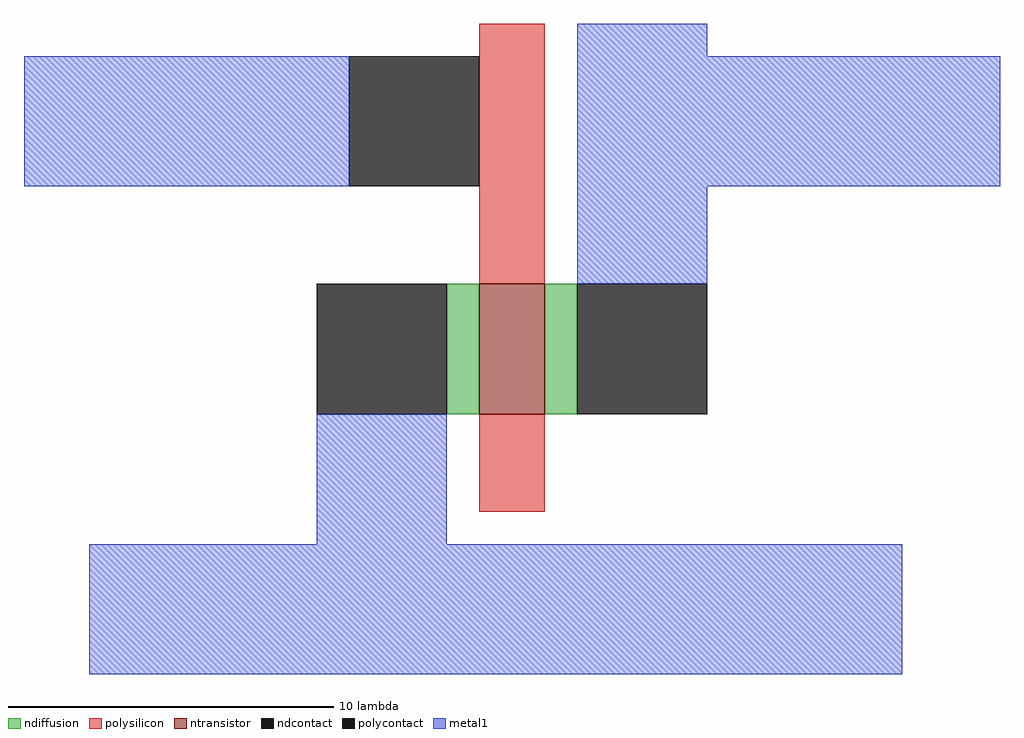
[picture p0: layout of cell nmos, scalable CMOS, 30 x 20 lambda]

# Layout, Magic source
magic
tech scmos
<< ntransistor >>
rect 4 -17 6 -13
<< ndiffusion >>
rect 3 -17 4 -13
rect 6 -17 7 -13
<< ndcontact >>
rect -1 -17 3 -13
rect 7 -17 11 -13
<< polysilicon >>
rect 4 -13 6 -5
rect 4 -20 6 -17
<< polycontact >>
rect 0 -10 4 -6
<< metal1 >>
rect 7 -6 11 -5
rect -10 -10 0 -6
rect 7 -10 20 -6
rect 7 -13 11 -10
rect -1 -21 3 -17
rect -8 -25 17 -21
<< end >>
